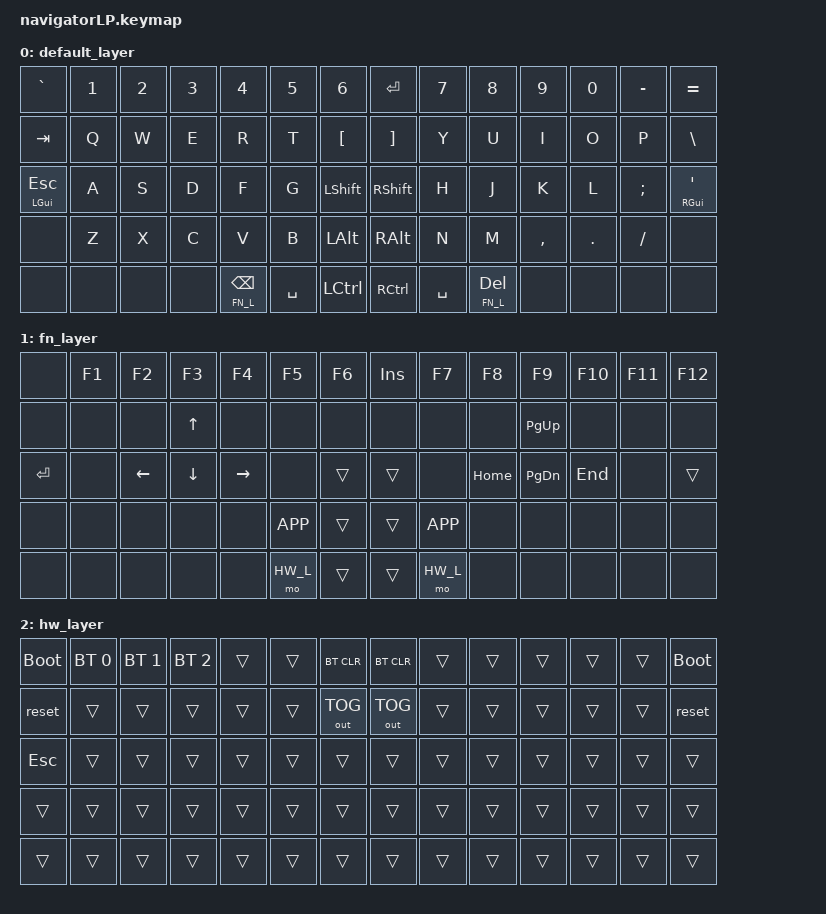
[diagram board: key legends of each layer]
#include <behaviors.dtsi>
#include <dt-bindings/zmk/keys.h>
#include <dt-bindings/zmk/bt.h>
#include <dt-bindings/zmk/outputs.h>

#define DEFAULT_LAYER 0
#define FN_L 1
#define HW_L 2


&lt {
    tapping_term_ms = <150>;
    quick_tap_ms = <300>;
    flavor = "balanced";
};

&mt {
    flavor = "tap-preferred";
};

/ {

    keymap {
        compatible = "zmk,keymap";

        default_layer {
            bindings = <
    &kp GRAVE     &kp N1  &kp N2  &kp N3  &kp N4         &kp N5     &kp N6         &kp ENTER  &kp N7     &kp N8        &kp N9     &kp N0   &kp MINUS  &kp EQUAL
    &kp TAB       &kp Q   &kp W   &kp E   &kp R          &kp T      &kp LBKT       &kp RBKT   &kp Y      &kp U         &kp I      &kp O    &kp P      &kp BSLH
    &mt LGUI ESC  &kp A   &kp S   &kp D   &kp F          &kp G      &kp LSHFT      &kp RSHFT  &kp H      &kp J         &kp K      &kp L    &kp SEMI   &mt RGUI SQT
    &none         &kp Z   &kp X   &kp C   &kp V          &kp B      &kp LALT       &kp RALT   &kp N      &kp M         &kp COMMA  &kp DOT  &kp FSLH   &none
    &none         &none   &none   &none   &lt FN_L BSPC  &kp SPACE  &kp LCTRL      &kp RCTRL  &kp SPACE  &lt FN_L DEL  &none      &none    &none      &none
            >;
        };

        fn_layer {
            bindings = <
    &none      &kp F1      &kp F2    &kp F3      &kp F4      &kp F5      &kp F6           &kp INS    &kp F7     &kp F8    &kp F9     &kp F10  &kp F11   &kp F12
    &none      &none       &none     &kp UP      &none       &none       &none            &none      &none      &none     &kp PG_UP  &none    &none     &none
    &kp ENTER  &none       &kp LEFT  &kp DOWN    &kp RIGHT   &none       &trans           &trans     &none      &kp HOME  &kp PG_DN  &kp END  &none     &trans
    &none      &none       &none     &none       &none       &kp K_APP   &trans           &trans     &kp K_APP  &none     &none      &none    &none     &none
    &none      &none       &none     &none       &none       &mo HW_L    &trans           &trans     &mo HW_L   &none     &none      &none    &none     &none
            >;
        };

        hw_layer {
            bindings = <
    &bootloader  &bt BT_SEL 0  &bt BT_SEL 1  &bt BT_SEL 2  &trans  &trans  &bt BT_CLR      &bt BT_CLR    &trans  &trans  &trans  &trans  &trans  &bootloader
    &reset       &trans        &trans        &trans        &trans  &trans  &out OUT_TOG    &out OUT_TOG  &trans  &trans  &trans  &trans  &trans  &reset
    &kp ESC      &trans        &trans        &trans        &trans  &trans  &trans          &trans        &trans  &trans  &trans  &trans  &trans  &trans
    &trans       &trans        &trans        &trans        &trans  &trans  &trans          &trans        &trans  &trans  &trans  &trans  &trans  &trans
    &trans       &trans        &trans        &trans        &trans  &trans  &trans          &trans        &trans  &trans  &trans  &trans  &trans  &trans
            >;
        };
    };
};
